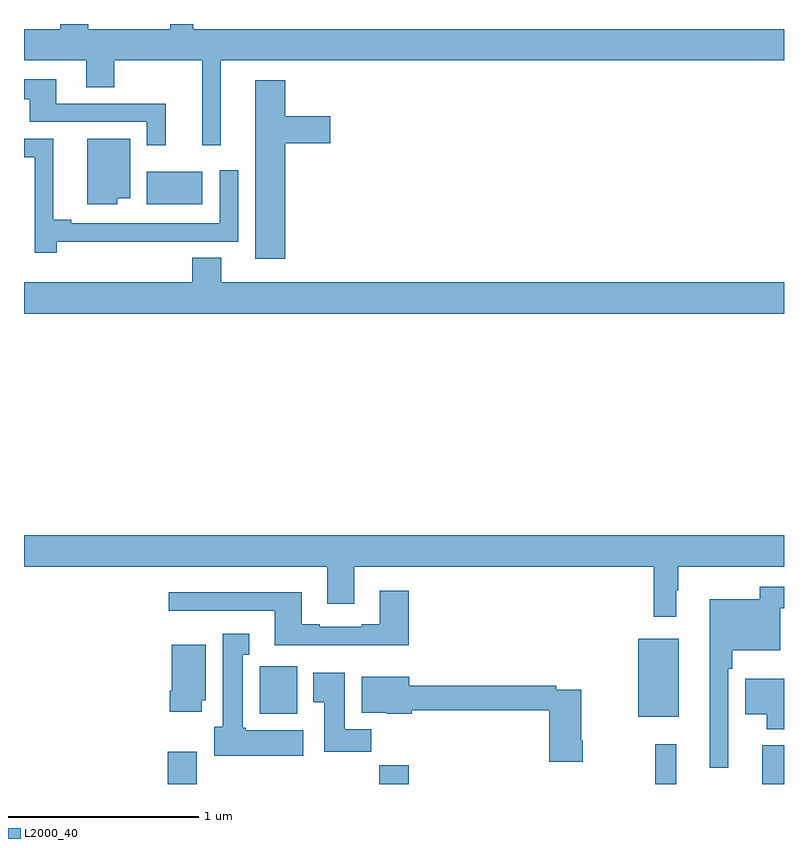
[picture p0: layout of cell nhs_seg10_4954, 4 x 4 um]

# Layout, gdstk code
import gdstk
lib = gdstk.Library(unit=1e-6, precision=1e-09)
def R(c, l, rs):  # rectangles x0, y0, x1, y1
    for r in rs: c.add(gdstk.rectangle(r[:2], r[2:], *l))
def P(c, l, *ps):  # polygons
    for p in ps: c.add(gdstk.Polygon(p, *l))
L2000_40 = (2000, 40)

nhs_seg10_4954 = lib.new_cell('nhs_seg10_4954')
R(nhs_seg10_4954, L2000_40, [(397.757,1304.5,397.909,1304.671), (398.869,1304.5,399.026,1304.6), (400.323,1304.5,400.433,1304.71), (400.886,1304.5,401,1304.704), (400.232,1304.855,400.447,1305.265), (398.241,1304.87,398.437,1305.12), (397.646,1307.552,397.939,1307.722)])
P(nhs_seg10_4954, L2000_40, [(398.036,1308.308),(401,1308.308),(401,1308.472),(397.892,1308.472),(397.892,1308.5),(397.769,1308.5),(397.769,1308.472),(397.339,1308.472),(397.339,1308.5),(397.192,1308.5),(397.192,1308.472),(397,1308.472),(397,1308.308),(397.328,1308.308),(397.328,1308.166),(397.476,1308.166),(397.476,1308.308),(397.937,1308.308),(397.937,1307.862),(398.036,1307.862)],
  [(397.745,1308.081),(397.171,1308.081),(397.171,1308.208),(397,1308.208),(397,1308.104),(397.031,1308.104),(397.031,1307.985),(397.647,1307.985),(397.647,1307.862),(397.745,1307.862)],
  [(398.375,1307.873),(398.611,1307.873),(398.611,1308.015),(398.375,1308.015),(398.375,1308.205),(398.216,1308.205),(398.216,1307.265),(398.375,1307.265)],
  [(397.492,1307.582),(397.558,1307.582),(397.558,1307.896),(397.334,1307.896),(397.334,1307.552),(397.492,1307.552)],
  [(397.172,1307.354),(397.802,1307.354),(397.802,1307.355),(398.127,1307.355),(398.127,1307.731),(398.031,1307.731),(398.031,1307.451),(397.249,1307.451),(397.249,1307.471),(397.154,1307.471),(397.154,1307.895),(397,1307.895),(397,1307.799),(397.056,1307.799),(397.056,1307.295),(397.172,1307.295)],
  [(401,1307.14),(398.038,1307.14),(398.038,1307.27),(397.886,1307.27),(397.886,1307.14),(397,1307.14),(397,1306.976),(401,1306.976)],
  [(400.432,1305.521),(400.444,1305.521),(400.444,1305.644),(401,1305.644),(401,1305.808),(397,1305.808),(397,1305.644),(398.597,1305.644),(398.597,1305.45),(398.737,1305.45),(398.737,1305.644),(400.315,1305.644),(400.315,1305.381),(400.432,1305.381)],
  [(400.707,1305.107),(400.727,1305.107),(400.727,1305.203),(400.98,1305.203),(400.98,1305.425),(401,1305.425),(401,1305.538),(400.872,1305.538),(400.872,1305.472),(400.61,1305.472),(400.61,1304.586),(400.707,1304.586)],
  [(399.026,1305.517),(398.873,1305.517),(398.873,1305.34),(398.777,1305.34),(398.777,1305.327),(398.557,1305.327),(398.557,1305.34),(398.461,1305.34),(398.461,1305.508),(397.761,1305.508),(397.761,1305.411),(398.321,1305.411),(398.321,1305.23),(399.026,1305.23)],
  [(398.47,1304.782),(398.166,1304.782),(398.166,1304.796),(398.152,1304.796),(398.152,1305.179),(398.185,1305.179),(398.185,1305.292),(398.045,1305.292),(398.045,1304.802),(398,1304.802),(398,1304.648),(398.47,1304.648)],
  [(397.936,1304.94),(397.957,1304.94),(397.957,1305.232),(397.778,1305.232),(397.778,1304.992),(397.766,1304.992),(397.766,1304.88),(397.936,1304.88)],
  [(398.828,1304.788),(398.689,1304.788),(398.689,1305.085),(398.522,1305.085),(398.522,1304.929),(398.579,1304.929),(398.579,1304.67),(398.828,1304.67)],
  [(399.942,1304.728),(399.934,1304.728),(399.934,1304.997),(399.8,1304.997),(399.8,1305.017),(399.028,1305.017),(399.028,1305.064),(398.777,1305.064),(398.777,1304.876),(398.91,1304.876),(398.91,1304.87),(399.041,1304.87),(399.041,1304.889),(399.764,1304.889),(399.764,1304.616),(399.942,1304.616)],
  [(401,1305.055),(400.796,1305.055),(400.796,1304.867),(400.91,1304.867),(400.91,1304.789),(401,1304.789)])

lib.write_gds('nhs_seg10_4954.gds')
